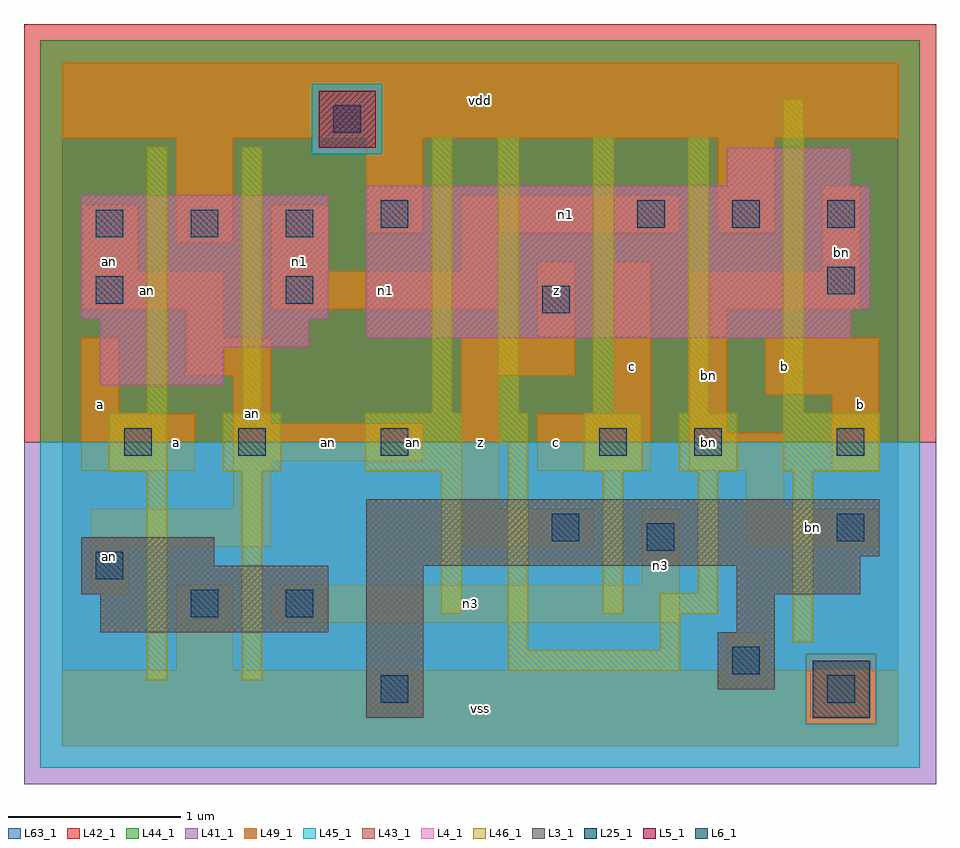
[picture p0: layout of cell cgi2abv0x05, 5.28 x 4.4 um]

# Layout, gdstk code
import gdstk
lib = gdstk.Library(unit=1e-6, precision=1e-09)
def R(c, l, rs):  # rectangles x0, y0, x1, y1
    for r in rs: c.add(gdstk.rectangle(r[:2], r[2:], *l))
def A(c, l, x, y, w, h, nx, ny, dx, dy):  # array of equal rectangles
    R(c, l, [(x+i*dx, y+j*dy, x+i*dx+w, y+j*dy+h) for i in range(nx) for j in range(ny)])
L3_1 = (3, 1)
L4_1 = (4, 1)
L5_1 = (5, 1)
L6_1 = (6, 1)
L25_1 = (25, 1)
L41_1 = (41, 1)
L42_1 = (42, 1)
L43_1 = (43, 1)
L44_1 = (44, 1)
L45_1 = (45, 1)
L46_1 = (46, 1)
L49_1 = (49, 1)
L63_1 = (63, 1)

cgi2abv0x05 = lib.new_cell('cgi2abv0x05')
R(cgi2abv0x05, L3_1, [(1.76,0.165,2.09,1.045), (3.795,0.33,4.125,0.66), (0.22,0.66,1.54,0.88), (3.905,0.66,4.125,0.88), (0.11,0.88,1.54,1.045), (3.905,0.88,4.62,1.045), (0.11,1.045,0.88,1.21), (1.76,1.045,4.62,1.1), (1.76,1.1,4.73,1.43)])
R(cgi2abv0x05, L4_1, [(0.22,2.09,0.935,2.31), (0.22,2.31,1.43,2.475), (1.76,2.365,4.565,2.53), (0.11,2.475,1.54,3.19), (1.76,2.53,4.675,3.245), (3.85,3.245,4.565,3.465)])
R(cgi2abv0x05, L5_1, [(1.485,3.465,1.815,3.795)])
R(cgi2abv0x05, L6_1, [(4.345,0.165,4.675,0.495)])
A(cgi2abv0x05, L25_1, 0.195, 2.945, 0.16, 0.16, 3, 1, 0.55, 0)
A(cgi2abv0x05, L25_1, 3.33, 3, 0.16, 0.16, 3, 1, 0.55, 0)
R(cgi2abv0x05, L25_1, [(1.845,0.25,2.005,0.41), (4.43,0.25,4.59,0.41), (3.88,0.415,4.04,0.575), (0.745,0.745,0.905,0.905), (1.295,0.745,1.455,0.905), (0.195,0.965,0.355,1.125), (3.385,1.13,3.545,1.29), (2.835,1.185,2.995,1.345), (4.485,1.185,4.645,1.345), (0.36,1.68,0.52,1.84), (1.02,1.68,1.18,1.84), (1.845,1.68,2.005,1.84), (3.11,1.68,3.27,1.84), (3.66,1.68,3.82,1.84), (4.485,1.68,4.645,1.84), (2.78,2.505,2.94,2.665), (0.195,2.56,0.355,2.72), (1.295,2.56,1.455,2.72), (4.43,2.615,4.59,2.775), (1.845,3,2.005,3.16), (1.57,3.55,1.73,3.71)])
R(cgi2abv0x05, L41_1, [(-0.22,-0.22,5.06,1.76)])
R(cgi2abv0x05, L42_1, [(-0.22,1.76,5.06,4.18)])
R(cgi2abv0x05, L43_1, [(1.76,0.165,2.09,1.045), (4.345,0.165,4.675,0.495), (3.795,0.33,4.125,0.66), (0.22,0.66,1.54,0.88), (3.905,0.66,4.125,0.88), (0.11,0.88,1.54,1.045), (3.905,0.88,4.62,1.045), (0.11,1.045,0.88,1.21), (1.76,1.045,4.62,1.1), (1.76,1.1,4.73,1.43), (0.22,2.09,0.935,2.31), (0.22,2.31,1.43,2.475), (1.76,2.365,4.565,2.53), (0.11,2.475,1.54,3.19), (1.76,2.53,4.675,3.245), (3.85,3.245,4.565,3.465), (1.485,3.465,1.815,3.795)])
R(cgi2abv0x05, L44_1, [(4.305,0.125,4.715,0.535), (-0.125,1.76,4.965,3.425), (-0.125,3.425,1.445,3.835), (1.855,3.425,4.965,3.835), (-0.125,3.835,4.965,4.085)])
R(cgi2abv0x05, L45_1, [(-0.125,-0.125,4.965,0.125), (-0.125,0.125,4.305,0.535), (4.715,0.125,4.965,0.535), (-0.125,0.535,4.965,1.76), (1.445,3.425,1.855,3.835)])
A(cgi2abv0x05, L46_1, 2.525, 1.93, 0.12, 1.595, 3, 1, 0.55, 0)
R(cgi2abv0x05, L46_1, [(0.49,0.38,0.61,1.59), (1.04,0.38,1.16,1.59), (2.58,0.435,3.58,0.555), (2.58,0.555,2.7,1.755), (3.46,0.555,3.58,0.765), (4.23,0.6,4.35,1.59), (2.195,0.765,2.315,1.59), (3.13,0.765,3.25,1.59), (3.46,0.765,3.8,0.885), (3.68,0.885,3.8,1.59), (0.27,1.59,0.61,1.93), (0.93,1.59,1.27,1.93), (1.755,1.59,2.315,1.93), (3.02,1.59,3.36,1.93), (3.57,1.59,3.91,1.93), (4.175,1.59,4.735,1.93), (2.525,1.755,2.7,1.93), (0.49,1.93,0.61,3.47), (1.04,1.93,1.16,3.47), (2.14,1.93,2.26,3.525), (4.175,1.93,4.295,3.745)])
R(cgi2abv0x05, L49_1, [(0,0,4.84,0.44), (0.66,0.44,0.99,0.935), (3.85,0.44,4.07,0.66), (1.21,0.715,3.575,0.935), (0.165,0.88,0.385,1.155), (3.355,0.935,3.575,1.375), (0.165,1.155,1.21,1.375), (2.31,1.155,3.08,1.375), (3.96,1.155,4.73,1.375), (0.99,1.375,1.21,1.65), (2.31,1.375,2.53,2.145), (3.96,1.375,4.18,1.595), (0.11,1.595,0.77,1.925), (2.75,1.595,3.41,1.925), (3.63,1.595,4.18,1.815), (4.455,1.595,4.73,2.035), (0.99,1.65,2.09,1.87), (3.63,1.815,3.85,2.53), (0.99,1.87,1.21,2.145), (0.11,1.925,0.33,2.365), (3.19,1.925,3.41,2.805), (4.07,2.035,4.73,2.365), (0.715,2.145,1.21,2.365), (2.31,2.145,2.97,2.365), (0.715,2.365,0.935,2.53), (2.75,2.365,2.97,2.805), (0.11,2.53,0.935,2.75), (1.21,2.53,2.53,2.75), (3.63,2.53,4.62,2.75), (0.11,2.75,0.44,3.135), (1.21,2.75,1.54,3.135), (2.31,2.75,2.53,2.97), (4.4,2.75,4.62,3.245), (0.66,2.915,0.99,3.52), (1.76,2.97,2.09,3.52), (2.31,2.97,3.575,3.19), (3.795,2.97,4.125,3.52), (0,3.52,4.84,3.96)])
R(cgi2abv0x05, L63_1, [(0,0,4.84,3.96)])
cgi2abv0x05.add(gdstk.Label('an', (1.1,1.925), layer=46, texttype=1))
cgi2abv0x05.add(gdstk.Label('an', (2.035,1.76), layer=46, texttype=1))
cgi2abv0x05.add(gdstk.Label('bn', (3.74,1.76), layer=49, texttype=1))
cgi2abv0x05.add(gdstk.Label('an', (0.275,1.1), layer=49, texttype=1))
cgi2abv0x05.add(gdstk.Label('a', (0.66,1.76), layer=49, texttype=1))
cgi2abv0x05.add(gdstk.Label('a', (0.22,1.98), layer=49, texttype=1))
cgi2abv0x05.add(gdstk.Label('an', (0.275,2.805), layer=49, texttype=1))
cgi2abv0x05.add(gdstk.Label('an', (0.495,2.64), layer=49, texttype=1))
cgi2abv0x05.add(gdstk.Label('n1', (1.375,2.805), layer=49, texttype=1))
cgi2abv0x05.add(gdstk.Label('vss', (2.42,0.22), layer=49, texttype=1))
cgi2abv0x05.add(gdstk.Label('z', (2.42,1.76), layer=49, texttype=1))
cgi2abv0x05.add(gdstk.Label('an', (1.54,1.76), layer=49, texttype=1))
cgi2abv0x05.add(gdstk.Label('n1', (1.87,2.64), layer=49, texttype=1))
cgi2abv0x05.add(gdstk.Label('vdd', (2.42,3.74), layer=49, texttype=1))
cgi2abv0x05.add(gdstk.Label('n3', (3.465,1.045), layer=49, texttype=1))
cgi2abv0x05.add(gdstk.Label('n3', (2.365,0.825), layer=49, texttype=1))
cgi2abv0x05.add(gdstk.Label('c', (2.86,1.76), layer=49, texttype=1))
cgi2abv0x05.add(gdstk.Label('c', (3.3,2.2), layer=49, texttype=1))
cgi2abv0x05.add(gdstk.Label('bn', (3.74,2.145), layer=49, texttype=1))
cgi2abv0x05.add(gdstk.Label('z', (2.86,2.64), layer=49, texttype=1))
cgi2abv0x05.add(gdstk.Label('n1', (2.915,3.08), layer=49, texttype=1))
cgi2abv0x05.add(gdstk.Label('bn', (4.345,1.265), layer=49, texttype=1))
cgi2abv0x05.add(gdstk.Label('b', (4.62,1.98), layer=49, texttype=1))
cgi2abv0x05.add(gdstk.Label('b', (4.18,2.2), layer=49, texttype=1))
cgi2abv0x05.add(gdstk.Label('bn', (4.51,2.86), layer=49, texttype=1))

lib.write_gds('cgi2abv0x05.gds')
